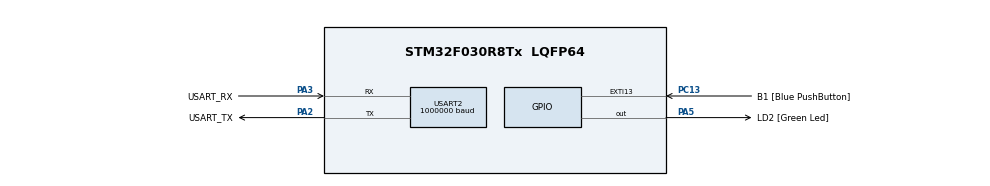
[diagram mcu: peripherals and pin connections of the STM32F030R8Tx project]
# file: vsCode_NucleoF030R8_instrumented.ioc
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Mcu.Family=STM32F0
Mcu.Name=STM32F030R8Tx
Mcu.Package=LQFP64
NVIC.USART2_IRQn=true\:0\:0\:false\:false\:true\:true\:true\:true
PA13.GPIO_Label=TMS
PA13.Mode=Serial_Wire
PA13.Signal=SYS_SWDIO
PA14.GPIO_Label=TCK
PA14.Mode=Serial_Wire
PA14.Signal=SYS_SWCLK
PA2.GPIO_Label=USART_TX
PA2.GPIO_Mode=GPIO_MODE_AF_PP
PA2.GPIO_PuPd=GPIO_NOPULL
PA2.GPIO_Speed=GPIO_SPEED_FREQ_LOW
PA2.Mode=Asynchronous
PA2.Signal=USART2_TX
PA3.GPIO_Label=USART_RX
PA3.GPIO_Mode=GPIO_MODE_AF_PP
PA3.GPIO_PuPd=GPIO_NOPULL
PA3.GPIO_Speed=GPIO_SPEED_FREQ_LOW
PA3.Mode=Asynchronous
PA3.Signal=USART2_RX
PA5.GPIO_Label=LD2 [Green Led]
PA5.GPIO_Mode=GPIO_MODE_OUTPUT_PP
PA5.GPIO_PuPd=GPIO_NOPULL
PA5.GPIO_Speed=GPIO_SPEED_FREQ_LOW
PA5.Signal=GPIO_Output
PC13.GPIO_Label=B1 [Blue PushButton]
PC13.GPIO_ModeDefaultEXTI=GPIO_MODE_IT_FALLING
PC13.Signal=GPXTI13
PC14-OSC32_IN.Mode=LSE-External-Oscillator
PC14-OSC32_IN.Signal=RCC_OSC32_IN
PC15-OSC32_OUT.Mode=LSE-External-Oscillator
PC15-OSC32_OUT.Signal=RCC_OSC32_OUT
PF0-OSC_IN.Mode=HSE-External-Clock-Source
PF0-OSC_IN.Signal=RCC_OSC_IN
PF1-OSC_OUT.Signal=RCC_OSC_OUT
ProjectManager.HeapSize=0x200
ProjectManager.StackSize=0x400
ProjectManager.TargetToolchain=Makefile
RCC.AHBFreq_Value=32000000
RCC.APB1Freq_Value=32000000
RCC.APB1TimFreq_Value=32000000
RCC.HCLKFreq_Value=32000000
RCC.PLLMUL=RCC_PLL_MUL8
RCC.SYSCLKFreq_VALUE=32000000
RCC.SYSCLKSource=RCC_SYSCLKSOURCE_PLLCLK
USART2.BaudRate=1000000
USART2.VirtualMode-Asynchronous=VM_ASYNC
USART2.WordLength=WORDLENGTH_9B
board=NUCLEO-F030R8

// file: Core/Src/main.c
/* USER CODE BEGIN Header */
/**
  ******************************************************************************
  * @file           : main.c
  * @brief          : Main program body
  ******************************************************************************
  * @attention
  *
  * Copyright (c) 2024 STMicroelectronics.
  * All rights reserved.
  *
  * This software is licensed under terms that can be found in the LICENSE file
  * in the root directory of this software component.
  * If no LICENSE file comes with this software, it is provided AS-IS.
  *
  ******************************************************************************
  */
/* USER CODE END Header */
#include "main.h"

/* USER CODE BEGIN Includes */
#include "trice.h"
/* USER CODE END Includes */

void SystemClock_Config(void);
static void MX_GPIO_Init(void);
static void MX_USART2_UART_Init(void);

int main(void)
{

  /* MCU Configuration--------------------------------------------------------*/

  /* Reset of all peripherals, Initializes the Flash interface and the Systick. */
  LL_APB1_GRP2_EnableClock(LL_APB1_GRP2_PERIPH_SYSCFG);
  LL_APB1_GRP1_EnableClock(LL_APB1_GRP1_PERIPH_PWR);

  /* Configure the system clock */
  SystemClock_Config();

  /* Initialize all configured peripherals */
  MX_GPIO_Init();
  MX_USART2_UART_Init();
  /* USER CODE BEGIN 2 */
    SysTick->CTRL |= SysTick_CTRL_TICKINT_Msk; // enable SysTick interrupt
    TriceInit();
    //! This is usable as the very first trice sequence after restart. Adapt it. Use a UTF-8 capable editor like VS-Code or use pure ASCII.
    trice( "\n\n        ✨✨✨✨✨✨✨✨✨✨✨✨✨✨✨✨✨        \n        🎈🎈🎈🎈  𝕹𝖀𝕮𝕷𝕰𝕺-F030R8   🎈🎈🎈🎈\n        🍃🍃🍃🍃🍃🍃🍃🍃🍃🍃🍃🍃🍃🍃🍃🍃🍃        \n\n\n");

    TRice( "w: Hello! 👋🙂 \a\n" ); // with sound!
    TRice( "w: Hello! 👋🙂 \a\n" ); // with sound!
    Trice( "w: Hello! 👋🙂 \a\n" ); // with sound!
    Trice( "w: Hello! 👋🙂 \a\n" ); // with sound!
    trice( "w: Hello! 👋🙂 \a\n" ); // with sound!
    trice( "w: Hello! 👋🙂 \a\n" ); // with sound!
  /* USER CODE END 2 */

  /* Infinite loop */
  /* USER CODE BEGIN WHILE */
  while (1)
  {
        static uint32_t lastMs = 0;
        if( lastMs != ms32 ){ // each ms
            lastMs = ms32;

            static uint32_t msDiag = 0;
            msDiag++;
            if(msDiag >= 10000 ){
                msDiag = 0;
                TriceLogDiagnosticValues();
            }

            static uint32_t msCheck = 0;
            msCheck++;
            if(msCheck >= 100 ){
                msCheck = 0;
                static uint32_t i = 50;
                if( i++ > 330 ){
                    i = 0;
                }
                TriceCheck( i ); // this generates trice data
            }

            #if (TRICE_BUFFER == TRICE_RING_BUFFER) || (TRICE_BUFFER == TRICE_DOUBLE_BUFFER)
                static uint32_t msTransfer = 0;
                msTransfer++;
                if(msTransfer >= 10 ){
                    msTransfer = 0;
                    // Serve deferred trice transfer every few ms or if TRICE_BUFFER is getting filled. With an RTOS put this in a separate task.
                    TriceTransfer(); // serve deferred output
                }
            #endif // #if ( TRICE_BUFFER == TRICE_RING_BUFFER) || ( TRICE_BUFFER == TRICE_DOUBLE_BUFFER)
        }

    /* USER CODE END WHILE */
  }
}

void SystemClock_Config(void)
{
  LL_FLASH_SetLatency(LL_FLASH_LATENCY_1);
  while(LL_FLASH_GetLatency() != LL_FLASH_LATENCY_1)
  {
  }
  LL_RCC_HSI_Enable();

   /* Wait till HSI is ready */
  while(LL_RCC_HSI_IsReady() != 1)
  {

  }
  LL_RCC_HSI_SetCalibTrimming(16);
  LL_RCC_PLL_ConfigDomain_SYS(LL_RCC_PLLSOURCE_HSI_DIV_2, LL_RCC_PLL_MUL_8);
  LL_RCC_PLL_Enable();

   /* Wait till PLL is ready */
  while(LL_RCC_PLL_IsReady() != 1)
  {

  }
  LL_RCC_SetAHBPrescaler(LL_RCC_SYSCLK_DIV_1);
  LL_RCC_SetAPB1Prescaler(LL_RCC_APB1_DIV_1);
  LL_RCC_SetSysClkSource(LL_RCC_SYS_CLKSOURCE_PLL);

   /* Wait till System clock is ready */
  while(LL_RCC_GetSysClkSource() != LL_RCC_SYS_CLKSOURCE_STATUS_PLL)
  {

  }
  LL_Init1msTick(32000000);
  LL_SetSystemCoreClock(32000000);
}

static void MX_USART2_UART_Init(void)
{

  LL_USART_InitTypeDef USART_InitStruct = {0};

  LL_GPIO_InitTypeDef GPIO_InitStruct = {0};

  /* Peripheral clock enable */
  LL_APB1_GRP1_EnableClock(LL_APB1_GRP1_PERIPH_USART2);

  LL_AHB1_GRP1_EnableClock(LL_AHB1_GRP1_PERIPH_GPIOA);
  /**USART2 GPIO Configuration
  PA2   ------> USART2_TX
  PA3   ------> USART2_RX
  */
  GPIO_InitStruct.Pin = USART_TX_Pin;
  GPIO_InitStruct.Mode = LL_GPIO_MODE_ALTERNATE;
  GPIO_InitStruct.Speed = LL_GPIO_SPEED_FREQ_LOW;
  GPIO_InitStruct.OutputType = LL_GPIO_OUTPUT_PUSHPULL;
  GPIO_InitStruct.Pull = LL_GPIO_PULL_NO;
  GPIO_InitStruct.Alternate = LL_GPIO_AF_1;
  LL_GPIO_Init(USART_TX_GPIO_Port, &GPIO_InitStruct);

  GPIO_InitStruct.Pin = USART_RX_Pin;
  GPIO_InitStruct.Mode = LL_GPIO_MODE_ALTERNATE;
  GPIO_InitStruct.Speed = LL_GPIO_SPEED_FREQ_LOW;
  GPIO_InitStruct.OutputType = LL_GPIO_OUTPUT_PUSHPULL;
  GPIO_InitStruct.Pull = LL_GPIO_PULL_NO;
  GPIO_InitStruct.Alternate = LL_GPIO_AF_1;
  LL_GPIO_Init(USART_RX_GPIO_Port, &GPIO_InitStruct);

  /* USART2 interrupt Init */
  NVIC_SetPriority(USART2_IRQn, 0);
  NVIC_EnableIRQ(USART2_IRQn);

  USART_InitStruct.BaudRate = 115200;
  USART_InitStruct.DataWidth = LL_USART_DATAWIDTH_9B;
  USART_InitStruct.StopBits = LL_USART_STOPBITS_1;
  USART_InitStruct.Parity = LL_USART_PARITY_NONE;
  USART_InitStruct.TransferDirection = LL_USART_DIRECTION_TX_RX;
  USART_InitStruct.HardwareFlowControl = LL_USART_HWCONTROL_NONE;
  USART_InitStruct.OverSampling = LL_USART_OVERSAMPLING_16;
  LL_USART_Init(USART2, &USART_InitStruct);
  LL_USART_DisableIT_CTS(USART2);
  LL_USART_ConfigAsyncMode(USART2);
  LL_USART_Enable(USART2);

}

static void MX_GPIO_Init(void)
{
  LL_EXTI_InitTypeDef EXTI_InitStruct = {0};
  LL_GPIO_InitTypeDef GPIO_InitStruct = {0};

  /* GPIO Ports Clock Enable */
  LL_AHB1_GRP1_EnableClock(LL_AHB1_GRP1_PERIPH_GPIOC);
  LL_AHB1_GRP1_EnableClock(LL_AHB1_GRP1_PERIPH_GPIOF);
  LL_AHB1_GRP1_EnableClock(LL_AHB1_GRP1_PERIPH_GPIOA);

  /**/
  LL_GPIO_ResetOutputPin(LD2_GPIO_Port, LD2_Pin);

  /**/
  LL_SYSCFG_SetEXTISource(LL_SYSCFG_EXTI_PORTC, LL_SYSCFG_EXTI_LINE13);

  /**/
  LL_GPIO_SetPinPull(B1_GPIO_Port, B1_Pin, LL_GPIO_PULL_NO);

  /**/
  LL_GPIO_SetPinMode(B1_GPIO_Port, B1_Pin, LL_GPIO_MODE_INPUT);

  /**/
  EXTI_InitStruct.Line_0_31 = LL_EXTI_LINE_13;
  EXTI_InitStruct.LineCommand = ENABLE;
  EXTI_InitStruct.Mode = LL_EXTI_MODE_IT;
  EXTI_InitStruct.Trigger = LL_EXTI_TRIGGER_FALLING;
  LL_EXTI_Init(&EXTI_InitStruct);

  /**/
  GPIO_InitStruct.Pin = LD2_Pin;
  GPIO_InitStruct.Mode = LL_GPIO_MODE_OUTPUT;
  GPIO_InitStruct.Speed = LL_GPIO_SPEED_FREQ_LOW;
  GPIO_InitStruct.OutputType = LL_GPIO_OUTPUT_PUSHPULL;
  GPIO_InitStruct.Pull = LL_GPIO_PULL_NO;
  LL_GPIO_Init(LD2_GPIO_Port, &GPIO_InitStruct);

}

void Error_Handler(void)
{
  __disable_irq();
  while (1)
  {
  }
}
